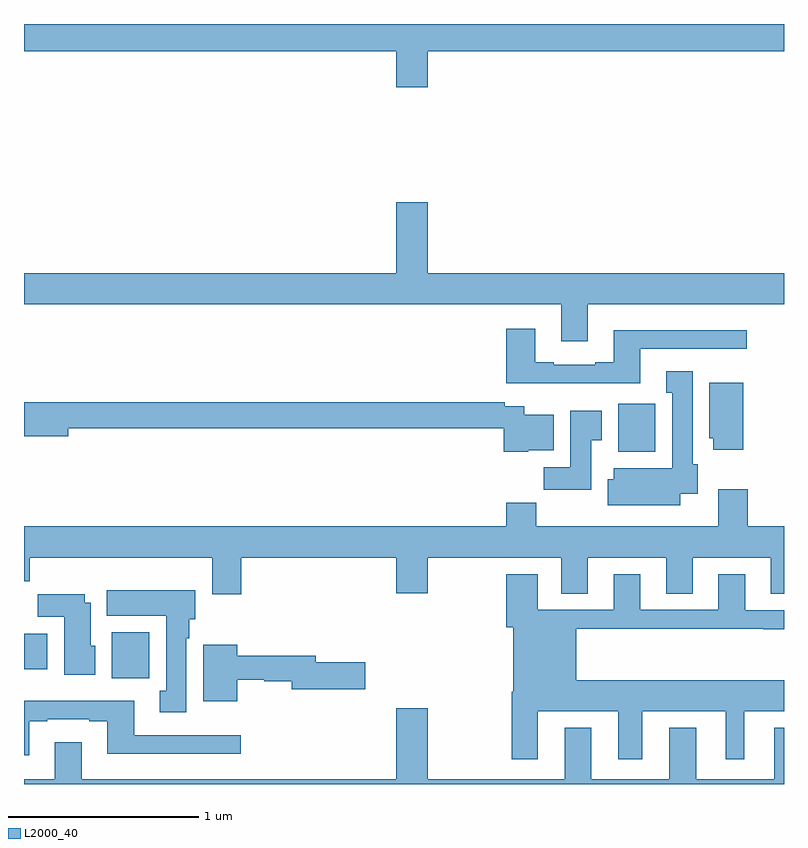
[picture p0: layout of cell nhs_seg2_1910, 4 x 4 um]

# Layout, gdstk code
import gdstk
lib = gdstk.Library(unit=1e-6, precision=1e-09)
def R(c, l, rs):  # rectangles x0, y0, x1, y1
    for r in rs: c.add(gdstk.rectangle(r[:2], r[2:], *l))
def P(c, l, *ps):  # polygons
    for p in ps: c.add(gdstk.Polygon(p, *l))
L2000_40 = (2000, 40)

nhs_seg2_1910 = lib.new_cell('nhs_seg2_1910')
R(nhs_seg2_1910, L2000_40, [(211.463,624.356,211.66,624.598), (211,624.404,211.123,624.592), (214.127,625.55,214.323,625.801)])
P(nhs_seg2_1910, L2000_40, [(213.124,627.656),(215,627.656),(215,627.8),(211,627.8),(211,627.656),(212.96,627.656),(212.96,627.468),(213.124,627.468)],
  [(213.967,626.324),(215,626.324),(215,626.488),(213.124,626.488),(213.124,626.863),(212.96,626.863),(212.96,626.488),(211,626.488),(211,626.324),(213.827,626.324),(213.827,626.13),(213.967,626.13)],
  [(214.243,626.091),(214.804,626.091),(214.804,626.188),(214.103,626.188),(214.103,626.02),(214.007,626.02),(214.007,626.007),(213.787,626.007),(213.787,626.02),(213.691,626.02),(213.691,626.197),(213.539,626.197),(213.539,625.91),(214.243,625.91)],
  [(214.453,625.328),(214.546,625.328),(214.546,625.482),(214.519,625.482),(214.519,625.972),(214.379,625.972),(214.379,625.859),(214.412,625.859),(214.412,625.462),(214.103,625.462),(214.103,625.403),(214.073,625.403),(214.073,625.268),(214.453,625.268)],
  [(214.786,625.912),(214.607,625.912),(214.607,625.62),(214.628,625.62),(214.628,625.56),(214.786,625.56)],
  [(213.654,625.556),(213.787,625.556),(213.787,625.744),(213.633,625.744),(213.633,625.788),(213.53,625.788),(213.53,625.808),(211,625.808),(211,625.63),(211.234,625.63),(211.234,625.672),(213.525,625.672),(213.525,625.55),(213.654,625.55)],
  [(213.985,625.609),(214.042,625.609),(214.042,625.765),(213.875,625.765),(213.875,625.468),(213.736,625.468),(213.736,625.35),(213.985,625.35)],
  [(212.144,624.992),(212.96,624.992),(212.96,624.804),(213.124,624.804),(213.124,624.992),(213.827,624.992),(213.827,624.802),(213.967,624.802),(213.967,624.992),(214.379,624.992),(214.379,624.802),(214.519,624.802),(214.519,624.992),(214.931,624.992),(214.931,624.802),(215,624.802),(215,625.156),(214.808,625.156),(214.808,625.351),(214.655,625.351),(214.655,625.156),(213.695,625.156),(213.695,625.28),(213.539,625.28),(213.539,625.156),(211,625.156),(211,624.868),(211.031,624.868),(211.031,624.992),(211.991,624.992),(211.991,624.798),(212.144,624.798)],
  [(213.703,624.182),(214.127,624.182),(214.127,623.931),(214.255,623.931),(214.255,624.182),(214.694,624.182),(214.694,623.931),(214.792,623.931),(214.792,624.182),(215,624.182),(215,624.346),(213.907,624.346),(213.907,624.616),(214.891,624.616),(214.891,624.614),(215,624.614),(215,624.714),(214.795,624.714),(214.795,624.904),(214.655,624.904),(214.655,624.717),(214.243,624.717),(214.243,624.904),(214.103,624.904),(214.103,624.717),(213.703,624.717),(213.703,624.904),(213.539,624.904),(213.539,624.624),(213.575,624.624),(213.575,624.286),(213.568,624.286),(213.568,623.931),(213.703,623.931)],
  [(211.855,624.566),(211.87,624.566),(211.87,624.666),(211.9,624.666),(211.9,624.82),(211.436,624.82),(211.436,624.686),(211.748,624.686),(211.748,624.29),(211.715,624.29),(211.715,624.177),(211.855,624.177)],
  [(211.375,624.528),(211.351,624.528),(211.351,624.754),(211.321,624.754),(211.321,624.799),(211.072,624.799),(211.072,624.68),(211.211,624.68),(211.211,624.374),(211.375,624.374)],
  [(212.122,624.348),(212.265,624.348),(212.265,624.34),(212.408,624.34),(212.408,624.298),(212.797,624.298),(212.797,624.44),(212.536,624.44),(212.536,624.476),(212.122,624.476),(212.122,624.532),(211.943,624.532),(211.943,624.236),(212.122,624.236)],
  [(211.027,624.129),(211.123,624.129),(211.123,624.141),(211.343,624.141),(211.343,624.129),(211.439,624.129),(211.439,623.96),(212.14,623.96),(212.14,624.057),(211.579,624.057),(211.579,624.238),(211,624.238),(211,623.952),(211.027,623.952)],
  [(215,624.097),(214.949,624.097),(214.949,623.824),(214.537,623.824),(214.537,624.097),(214.397,624.097),(214.397,623.824),(213.985,623.824),(213.985,624.097),(213.845,624.097),(213.845,623.824),(213.124,623.824),(213.124,624.199),(212.96,624.199),(212.96,623.824),(211.303,623.824),(211.303,624.019),(211.163,624.019),(211.163,623.824),(211,623.824),(211,623.8),(215,623.8)])

lib.write_gds('nhs_seg2_1910.gds')
